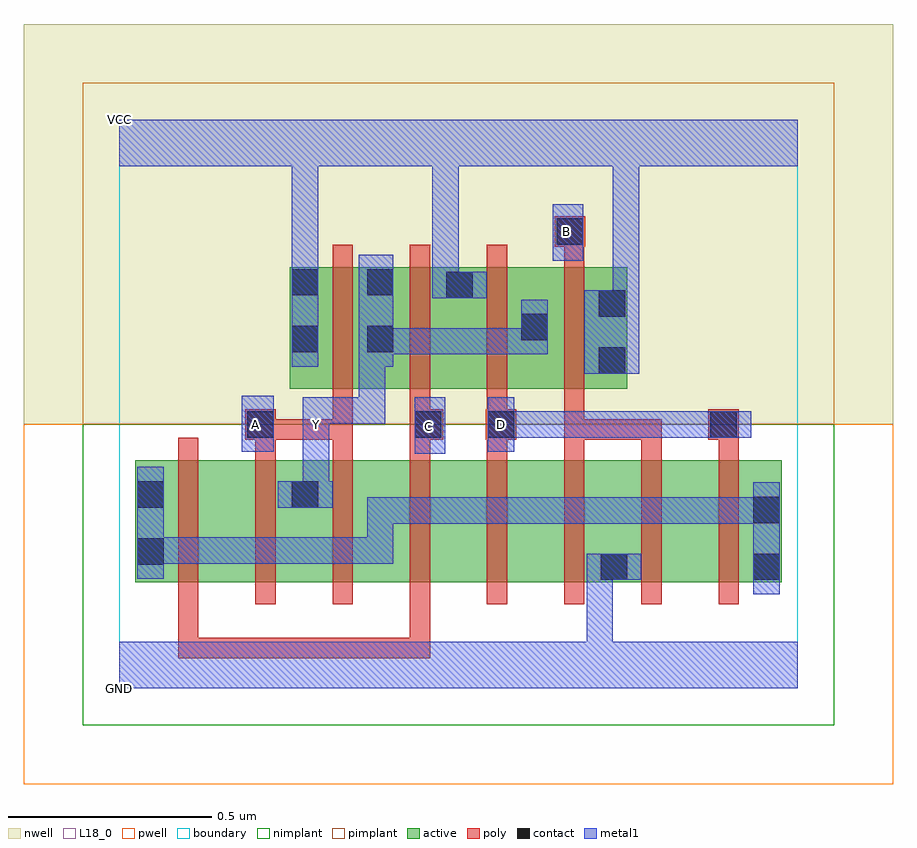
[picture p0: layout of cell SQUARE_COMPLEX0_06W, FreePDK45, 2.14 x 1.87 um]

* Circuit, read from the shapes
.subckt SQUARE_COMPLEX0_06W A B C D GND VCC Y
M1 n1 C n2 VSUBS nfet w=0.3u l=0.05u
M2 Y A n1 VSUBS nfet w=0.3u l=0.05u
M3 n3 A Y VSUBS nfet w=0.3u l=0.05u
M4 n4 C n3 VSUBS nfet w=0.3u l=0.05u
M5 n5 D n4 VSUBS nfet w=0.3u l=0.05u
M6 GND B n5 VSUBS nfet w=0.3u l=0.05u
M7 n6 B GND VSUBS nfet w=0.3u l=0.05u
M8 n2 D n6 VSUBS nfet w=0.3u l=0.05u
M9 Y A VCC n7 pfet w=0.3u l=0.05u
M10 VCC C Y n7 pfet w=0.3u l=0.05u
M11 Y D VCC n7 pfet w=0.3u l=0.05u
M12 VCC B Y n7 pfet w=0.3u l=0.05u
.ends

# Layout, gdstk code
import gdstk
lib = gdstk.Library(unit=1e-6, precision=1e-09)
def R(c, l, rs):  # rectangles x0, y0, x1, y1
    for r in rs: c.add(gdstk.rectangle(r[:2], r[2:], *l))
def A(c, l, x, y, w, h, nx, ny, dx, dy):  # array of equal rectangles
    R(c, l, [(x+i*dx, y+j*dy, x+i*dx+w, y+j*dy+h) for i in range(nx) for j in range(ny)])
active = (1, 0)
pwell = (2, 0)
nwell = (3, 0)
nimplant = (4, 0)
pimplant = (5, 0)
poly = (9, 0)
contact = (10, 0)
metal1 = (11, 0)
L18_0 = (18, 0)
boundary = (235, 0)

square_complex0_06w = lib.new_cell('SQUARE_COMPLEX0_06W')
R(square_complex0_06w, active, [(0.04,0.262,0.265,0.562), (0.265,0.262,0.495,0.562), (0.42,0.262,0.645,0.562), (0.645,0.262,0.835,0.562), (0.835,0.262,1.025,0.562), (1.025,0.262,1.255,0.562), (1.18,0.262,1.405,0.562), (1.18,0.262,1.255,0.392), (1.405,0.262,1.63,0.562), (1.555,0.262,1.63,0.562), (0.04,0.295,0.115,0.562), (0.42,0.295,0.495,0.517), (0.42,0.737,0.495,1.037), (0.42,0.737,0.68,1.037), (0.605,0.737,0.68,1.037), (0.605,0.737,0.875,1.037), (0.8,0.737,1.06,1.037), (0.985,0.737,1.06,1.037), (0.985,0.737,1.25,1.037), (1.175,0.737,1.25,1.037), (0.8,0.747,0.875,1.037)])
R(square_complex0_06w, pwell, [(-0.235,-0.235,1.905,0.65)])
R(square_complex0_06w, nwell, [(-0.235,0.65,1.905,1.635)])
R(square_complex0_06w, nimplant, [(-0.09,-0.09,1.76,0.65)])
R(square_complex0_06w, pimplant, [(-0.09,0.65,1.76,1.49)])
A(square_complex0_06w, poly, 0.145, 0.207, 0.05, 0.41, 8, 1, 0.19, 0)
A(square_complex0_06w, poly, 0.335, 0.567, 0.05, 0.095, 7, 1, 0.19, 0)
A(square_complex0_06w, poly, 0.525, 0.682, 0.05, 0.41, 3, 1, 0.19, 0)
R(square_complex0_06w, poly, [(0.145,0.075,0.195,0.125), (0.145,0.075,0.385,0.125), (0.145,0.075,0.195,0.257), (0.335,0.075,0.385,0.125), (0.335,0.075,0.385,0.125), (0.335,0.075,0.385,0.125), (0.335,0.075,0.517,0.125), (0.467,0.075,0.517,0.125), (0.467,0.075,0.517,0.125), (0.467,0.075,0.517,0.125), (0.467,0.075,0.765,0.125), (0.715,0.075,0.765,0.125), (0.715,0.075,0.765,0.125), (0.715,0.075,0.765,0.125), (0.715,0.075,0.765,0.257), (0.31,0.612,0.385,0.687), (0.335,0.612,0.575,0.662), (0.525,0.612,0.575,0.662), (0.525,0.612,0.575,0.662), (0.525,0.612,0.575,0.662), (0.525,0.612,0.575,0.732), (0.715,0.612,0.797,0.687), (0.902,0.612,0.977,0.687), (1.095,0.612,1.335,0.662), (1.095,0.612,1.145,0.687), (1.285,0.612,1.335,0.662), (1.285,0.612,1.335,0.662), (1.285,0.612,1.335,0.662), (1.45,0.612,1.525,0.687), (0.715,0.637,0.765,0.732), (0.905,0.637,0.955,0.732), (1.095,0.637,1.145,0.687), (1.095,0.637,1.145,1.092), (1.095,1.042,1.145,1.137), (1.072,1.087,1.147,1.162)])
R(square_complex0_06w, contact, [(1.185,0.267,1.25,0.332), (1.56,0.267,1.625,0.332), (0.045,0.305,0.11,0.37), (1.56,0.407,1.625,0.472), (0.045,0.445,0.11,0.51), (0.425,0.445,0.49,0.51), (0.315,0.617,0.38,0.682), (0.727,0.617,0.792,0.682), (0.907,0.617,0.972,0.682), (1.455,0.617,1.52,0.682), (1.18,0.775,1.245,0.84), (0.425,0.827,0.49,0.892), (0.61,0.827,0.675,0.892), (0.99,0.857,1.055,0.922), (1.18,0.915,1.245,0.98), (0.805,0.96,0.87,1.025), (0.425,0.967,0.49,1.032), (0.61,0.967,0.675,1.032), (1.077,1.092,1.142,1.157)])
R(square_complex0_06w, metal1, [(0,0,1.67,0.115), (1.15,0.05,1.215,0.115), (1.15,0.05,1.215,0.115), (1.15,0.05,1.215,0.115), (1.15,0.05,1.215,0.115), (1.15,0.05,1.215,0.332), (1.56,0.232,1.625,0.507), (1.15,0.267,1.285,0.332), (0.045,0.27,0.11,0.545), (0.045,0.307,0.11,0.372), (0.045,0.307,0.11,0.372), (0.045,0.307,0.317,0.372), (0.252,0.307,0.317,0.372), (0.252,0.307,0.317,0.372), (0.252,0.307,0.317,0.372), (0.252,0.307,0.317,0.372), (0.252,0.307,0.317,0.372), (0.252,0.307,0.517,0.372), (0.452,0.307,0.517,0.372), (0.452,0.307,0.517,0.372), (0.452,0.307,0.517,0.372), (0.452,0.307,0.675,0.372), (0.61,0.307,0.675,0.372), (0.61,0.307,0.675,0.47), (0.61,0.405,0.675,0.47), (0.61,0.405,0.675,0.47), (0.61,0.405,0.675,0.47), (0.61,0.405,0.812,0.47), (0.747,0.405,0.812,0.47), (0.747,0.405,0.812,0.47), (0.747,0.405,0.812,0.47), (0.747,0.405,0.972,0.47), (0.907,0.405,1.11,0.47), (0.907,0.405,0.972,0.47), (1.045,0.405,1.11,0.47), (1.045,0.405,1.11,0.47), (1.045,0.405,1.11,0.47), (1.045,0.405,1.28,0.47), (1.215,0.405,1.28,0.47), (1.215,0.405,1.487,0.47), (1.422,0.405,1.625,0.47), (1.422,0.405,1.487,0.47), (1.422,0.405,1.487,0.47), (1.422,0.405,1.487,0.47), (0.39,0.445,0.525,0.51), (0.452,0.445,0.517,0.647), (0.727,0.577,0.802,0.717), (0.302,0.582,0.38,0.72), (0.452,0.582,0.517,0.717), (0.907,0.582,0.972,0.717), (0.907,0.617,1.11,0.682), (0.907,0.617,0.972,0.682), (0.907,0.617,0.972,0.682), (1.045,0.617,1.11,0.682), (1.045,0.617,1.11,0.682), (1.045,0.617,1.11,0.682), (1.045,0.617,1.28,0.682), (1.215,0.617,1.28,0.682), (1.215,0.617,1.485,0.682), (1.42,0.617,1.485,0.682), (1.42,0.617,1.485,0.682), (1.42,0.617,1.555,0.682), (0.452,0.652,0.537,0.717), (0.472,0.652,0.537,0.717), (0.472,0.652,0.655,0.717), (0.59,0.652,0.655,0.717), (0.59,0.652,0.655,0.857), (1.145,0.775,1.28,0.98), (0.425,0.792,0.49,1.067), (0.59,0.792,0.675,1.067), (0.61,0.822,0.675,0.887), (0.61,0.822,0.675,0.887), (0.61,0.822,0.812,0.887), (0.747,0.822,0.812,0.887), (0.747,0.822,0.812,0.887), (0.747,0.822,0.812,0.887), (0.747,0.822,1.055,0.887), (0.99,0.822,1.055,0.957), (1.215,0.915,1.28,1.35), (0.77,0.96,0.835,1.025), (0.77,0.96,0.835,1.025), (0.77,0.96,0.835,1.025), (0.77,0.96,0.835,1.025), (0.77,0.96,0.905,1.025), (0.77,0.96,0.835,1.35), (0.425,1.002,0.49,1.35), (1.067,1.052,1.142,1.192), (0,1.285,1.67,1.4), (0.425,1.285,0.49,1.35), (0.425,1.285,0.49,1.35), (0.425,1.285,0.49,1.35), (0.425,1.285,0.49,1.35), (1.215,1.285,1.28,1.35), (1.215,1.285,1.28,1.35), (1.215,1.285,1.28,1.35), (1.215,1.285,1.28,1.35)])
R(square_complex0_06w, L18_0, [(0,0,1.67,0.115), (1.15,0.05,1.215,0.115), (1.15,0.05,1.215,0.115), (1.15,0.05,1.215,0.115), (1.15,0.05,1.215,0.115), (1.15,0.05,1.215,0.332), (1.15,0.267,1.285,0.332), (0.39,0.445,0.525,0.51), (0.452,0.445,0.517,0.647), (0.727,0.577,0.802,0.717), (0.302,0.582,0.38,0.72), (0.452,0.582,0.517,0.717), (0.907,0.582,0.972,0.717), (0.727,0.612,0.792,0.677), (0.302,0.617,0.367,0.682), (0.452,0.617,0.517,0.682), (0.907,0.617,0.972,0.682), (0.907,0.617,0.972,0.682), (0.907,0.617,0.972,0.682), (0.907,0.617,1.11,0.682), (1.045,0.617,1.11,0.682), (1.045,0.617,1.11,0.682), (1.045,0.617,1.11,0.682), (1.045,0.617,1.28,0.682), (1.215,0.617,1.28,0.682), (1.215,0.617,1.485,0.682), (1.42,0.617,1.555,0.682), (1.42,0.617,1.485,0.682), (1.42,0.617,1.485,0.682), (0.452,0.652,0.537,0.717), (0.472,0.652,0.537,0.717), (0.472,0.652,0.655,0.717), (0.59,0.652,0.655,0.717), (0.59,0.652,0.655,0.857), (1.145,0.775,1.28,0.98), (0.425,0.792,0.49,1.067), (0.59,0.792,0.675,1.067), (0.61,0.822,0.675,0.887), (0.61,0.822,0.675,0.887), (0.61,0.822,0.812,0.887), (0.747,0.822,0.812,0.887), (0.747,0.822,0.812,0.887), (0.747,0.822,0.812,0.887), (0.747,0.822,1.055,0.887), (0.99,0.822,1.055,0.957), (1.215,0.915,1.28,1.35), (0.77,0.96,0.905,1.025), (0.77,0.96,0.835,1.025), (0.77,0.96,0.835,1.025), (0.77,0.96,0.835,1.025), (0.77,0.96,0.835,1.025), (0.77,0.96,0.835,1.35), (0.425,1.002,0.49,1.35), (1.067,1.052,1.142,1.192), (1.067,1.092,1.132,1.157), (0,1.285,1.67,1.4), (0.425,1.285,0.49,1.35), (0.425,1.285,0.49,1.35), (0.425,1.285,0.49,1.35), (0.425,1.285,0.49,1.35), (1.215,1.285,1.28,1.35), (1.215,1.285,1.28,1.35), (1.215,1.285,1.28,1.35), (1.215,1.285,1.28,1.35)])
R(square_complex0_06w, boundary, [(0,0,1.67,1.4)])
square_complex0_06w.add(gdstk.Label('A', (0.335,0.65), layer=11, texttype=0))
square_complex0_06w.add(gdstk.Label('B', (1.1,1.125), layer=11, texttype=0))
square_complex0_06w.add(gdstk.Label('C', (0.76,0.645), layer=11, texttype=0))
square_complex0_06w.add(gdstk.Label('D', (0.94,0.65), layer=11, texttype=0))
square_complex0_06w.add(gdstk.Label('Y', (0.485,0.65), layer=11, texttype=0))
square_complex0_06w.add(gdstk.Label('VCC', (0,1.4), layer=11, texttype=0))
square_complex0_06w.add(gdstk.Label('GND', (0,0), layer=11, texttype=0))

lib.write_gds('SQUARE_COMPLEX0_06W.gds')
